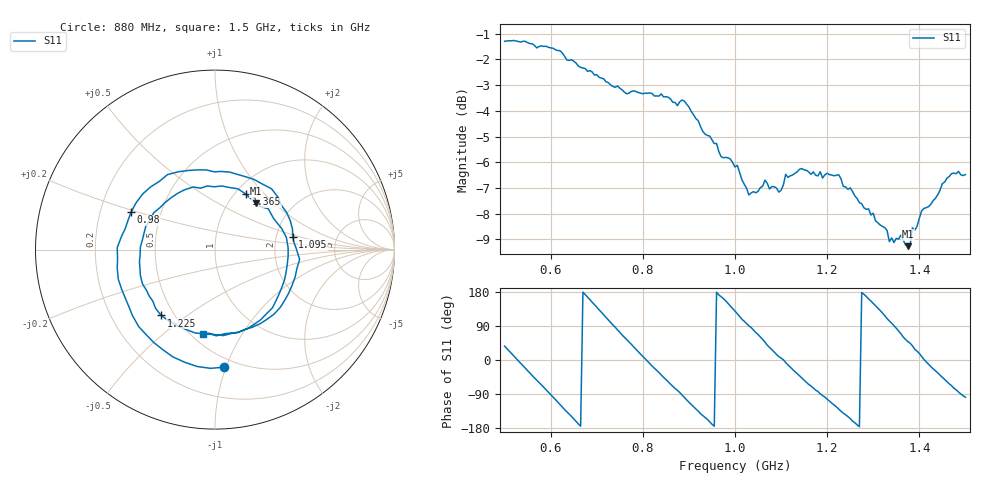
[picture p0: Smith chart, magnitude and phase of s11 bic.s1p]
#  HZ  S  DB  R  50.00
! Rohde & Schwarz Vector Network Analyzer
! Rohde-Schwarz,ZNC3-2Port,1311600412101323,1.94
! Created: UTC 10/28/2024, 10:01:59 PM
! freq[Hz]  db:S11  ang:S11
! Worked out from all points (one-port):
!   201 points, 500 MHz to 1.5 GHz, reference 50 ohm
!   lowest |S11| = -9.3 dB at 1.375 GHz (marker M1), VSWR 2.05, Z = 66.5 + j39 ohm
!   |S11| at or under -10 dB: nowhere
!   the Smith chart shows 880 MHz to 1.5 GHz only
!   S11 on the Smith chart (normalised r, x): 880 MHz: 0.43, -0.98; 980 MHz: 0.34, +0.19; 1.095 GHz: 2.47, +0.43; 1.225 GHz: 0.42, -0.40; 1.365 GHz: 1.12, +0.79; 1.5 GHz: 0.57, -0.69
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5e8  -1.30 36.5
5.4e8  -1.30 -15.2
5.75e8  -1.50 -59.4
6e8  -1.55 -91.2
6.25e8  -1.75 -123.9
6.55e8  -2.14 -161.9
6.85e8  -2.44 159.6
7.15e8  -2.76 119.2
7.5e8  -3.12 73.1
7.8e8  -3.22 34.7
8.1e8  -3.32 -3.1
8.45e8  -3.46 -45.8
8.75e8  -3.80 -80.2
8.8e8  -3.65 -85.7
9.25e8  -4.60 -141.4
9.8e8  -5.81 155.9
1e9  -6.19 129.3
1.055e9  -6.99 60.9
1.095e9  -7.16 9.2
1.125e9  -6.49 -25.0
1.17e9  -6.37 -74.3
1.225e9  -6.48 -129.2
1.25e9  -6.99 -154.7
1.32e9  -8.49 123.8
1.365e9  -9.02 60.7
1.375e9  -9.26 48.6
1.43e9  -7.49 -23.2
1.5e9  -6.48 -98.2
